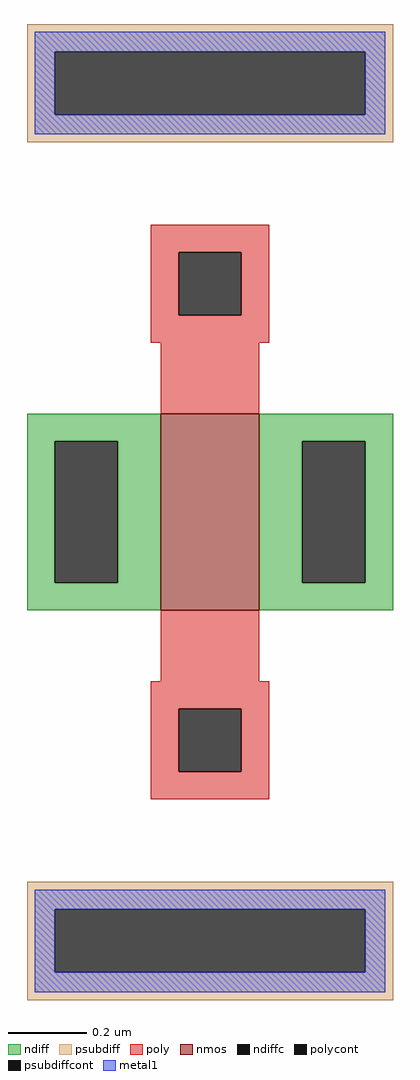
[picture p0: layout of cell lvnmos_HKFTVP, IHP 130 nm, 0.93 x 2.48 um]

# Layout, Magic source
magic
tech ihp-sg13g2
magscale 1 2
<< nmos >>
rect -25 -50 25 50
<< ndiff >>
rect -93 36 -25 50
rect -93 -36 -79 36
rect -47 -36 -25 36
rect -93 -50 -25 -36
rect 25 36 93 50
rect 25 -36 47 36
rect 79 -36 93 36
rect 25 -50 93 -36
<< ndiffc >>
rect -79 -36 -47 36
rect 47 -36 79 36
<< psubdiff >>
rect -93 234 93 248
rect -93 202 -79 234
rect 79 202 93 234
rect -93 188 93 202
rect -93 -202 93 -188
rect -93 -234 -79 -202
rect 79 -234 93 -202
rect -93 -248 93 -234
<< psubdiffcont >>
rect -79 202 79 234
rect -79 -234 79 -202
<< poly >>
rect -30 132 30 146
rect -30 100 -16 132
rect 16 100 30 132
rect -30 86 30 100
rect -25 50 25 86
rect -25 -86 25 -50
rect -30 -100 30 -86
rect -30 -132 -16 -100
rect 16 -132 30 -100
rect -30 -146 30 -132
<< polycont >>
rect -16 100 16 132
rect -16 -132 16 -100
<< metal1 >>
rect -89 234 89 244
rect -89 202 -79 234
rect 79 202 89 234
rect -89 192 89 202
rect -89 -202 89 -192
rect -89 -234 -79 -202
rect 79 -234 89 -202
rect -89 -244 89 -234
<< properties >>
string gencell lvnmos
string library sg13g2_devstdin
string parameters w 0.5 l 0.25 nf 1 nx 1 dx 0.21 ny 1 dy 0.18 wmin 0.50 lmin 0.50 class mosfet gcontcov_t 100 gcontcov_b 100 dcontcov_l 100 dcontcov_r 100 guard_distf 1.5 glc 0 grc 0 gtc 1 gbc 1
<< end >>
